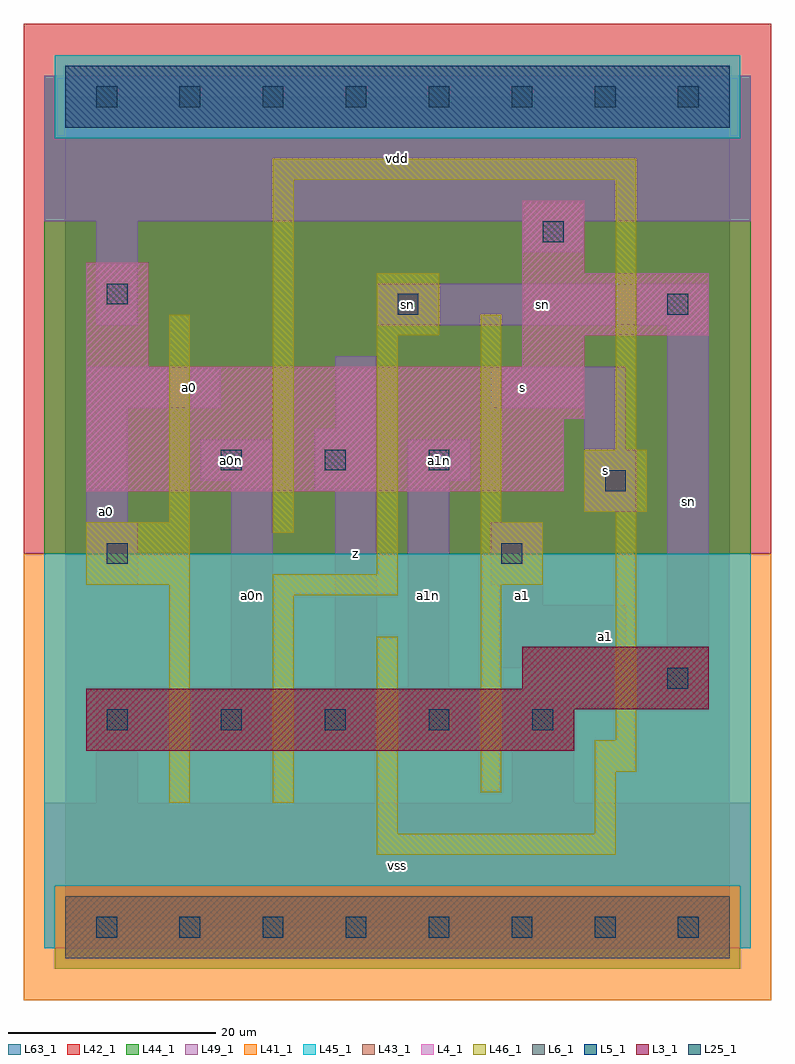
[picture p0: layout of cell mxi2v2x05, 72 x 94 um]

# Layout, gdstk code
import gdstk
lib = gdstk.Library(unit=1e-6, precision=1e-09)
def R(c, l, rs):  # rectangles x0, y0, x1, y1
    for r in rs: c.add(gdstk.rectangle(r[:2], r[2:], *l))
def A(c, l, x, y, w, h, nx, ny, dx, dy):  # array of equal rectangles
    R(c, l, [(x+i*dx, y+j*dy, x+i*dx+w, y+j*dy+h) for i in range(nx) for j in range(ny)])
L3_1 = (3, 1)
L4_1 = (4, 1)
L5_1 = (5, 1)
L6_1 = (6, 1)
L25_1 = (25, 1)
L41_1 = (41, 1)
L42_1 = (42, 1)
L43_1 = (43, 1)
L44_1 = (44, 1)
L45_1 = (45, 1)
L46_1 = (46, 1)
L49_1 = (49, 1)
L63_1 = (63, 1)

mxi2v2x05 = lib.new_cell('mxi2v2x05')
R(mxi2v2x05, L3_1, [(2,17,49,21), (2,21,62,23), (44,23,62,27)])
R(mxi2v2x05, L4_1, [(2,42,48,49), (2,49,50,54), (2,54,8,64), (44,54,50,57), (44,57,62,63), (44,63,50,70)])
R(mxi2v2x05, L5_1, [(0,77,64,83)])
R(mxi2v2x05, L6_1, [(0,-3,64,3), (0,-3,64,3)])
A(mxi2v2x05, L25_1, 3, -1, 2, 2, 8, 2, 8, 80)
A(mxi2v2x05, L25_1, 15, 19, 2, 2, 4, 1, 10, 0)
A(mxi2v2x05, L25_1, 15, 44, 2, 2, 3, 1, 10, 0)
R(mxi2v2x05, L25_1, [(4,19,6,21), (58,23,60,25), (4,35,6,37), (42,35,44,37), (52,42,54,44), (32,59,34,61), (58,59,60,61), (4,60,6,62), (46,66,48,68)])
R(mxi2v2x05, L41_1, [(-4,-7,68,36)])
R(mxi2v2x05, L42_1, [(-4,36,68,87)])
R(mxi2v2x05, L43_1, [(0,-3,64,3), (2,17,49,21), (2,21,62,23), (44,23,62,27), (2,42,48,49), (2,49,50,54), (2,54,8,64), (44,54,50,57), (44,57,62,63), (44,63,50,70), (0,77,64,83)])
R(mxi2v2x05, L44_1, [(-1,-4,65,4), (-2,36,66,76), (-2,76,-1,82), (65,76,66,82)])
R(mxi2v2x05, L45_1, [(-2,-2,-1,4), (65,-2,66,4), (-2,4,66,36), (-1,76,65,84)])
R(mxi2v2x05, L46_1, [(30,7,53,9), (30,9,32,28), (51,9,53,15), (10,12,12,33), (20,12,22,32), (40,13,42,33), (51,15,55,18), (53,18,55,40), (20,32,32,34), (2,33,12,39), (40,33,46,39), (30,34,32,57), (20,38,22,72), (10,39,12,59), (40,39,42,59), (50,40,56,46), (53,46,55,72), (30,57,36,63), (20,72,55,74)])
R(mxi2v2x05, L49_1, [(-2,-2,66,12), (3,12,7,23), (43,12,49,22), (24,17,30,23), (13,18,20,22), (33,18,39,22), (57,21,62,27), (16,22,20,43), (33,22,37,43), (26,23,30,42), (42,25,54,31), (58,27,62,58), (42,31,46,33), (2,33,7,39), (41,33,46,39), (2,39,6,50), (50,40,55,46), (24,42,30,48), (13,43,20,47), (33,43,39,47), (50,46,54,50), (26,48,30,55), (2,50,15,54), (41,50,54,54), (3,58,7,68), (30,58,62,62), (44,65,50,68), (-2,68,66,82)])
R(mxi2v2x05, L63_1, [(0,0,64,80)])
mxi2v2x05.add(gdstk.Label('sn', (33,60), layer=49, texttype=1))
mxi2v2x05.add(gdstk.Label('a0', (4,40), layer=49, texttype=1))
mxi2v2x05.add(gdstk.Label('a0n', (18,32), layer=49, texttype=1))
mxi2v2x05.add(gdstk.Label('a0n', (16,45), layer=49, texttype=1))
mxi2v2x05.add(gdstk.Label('a0', (12,52), layer=49, texttype=1))
mxi2v2x05.add(gdstk.Label('vss', (32,6), layer=49, texttype=1))
mxi2v2x05.add(gdstk.Label('a1n', (35,32), layer=49, texttype=1))
mxi2v2x05.add(gdstk.Label('z', (28,36), layer=49, texttype=1))
mxi2v2x05.add(gdstk.Label('vdd', (32,74), layer=49, texttype=1))
mxi2v2x05.add(gdstk.Label('a1', (44,32), layer=49, texttype=1))
mxi2v2x05.add(gdstk.Label('a1n', (36,45), layer=49, texttype=1))
mxi2v2x05.add(gdstk.Label('s', (44,52), layer=49, texttype=1))
mxi2v2x05.add(gdstk.Label('a1', (52,28), layer=49, texttype=1))
mxi2v2x05.add(gdstk.Label('s', (52,44), layer=49, texttype=1))
mxi2v2x05.add(gdstk.Label('sn', (60,41), layer=49, texttype=1))
mxi2v2x05.add(gdstk.Label('sn', (46,60), layer=49, texttype=1))

lib.write_gds('mxi2v2x05.gds')
